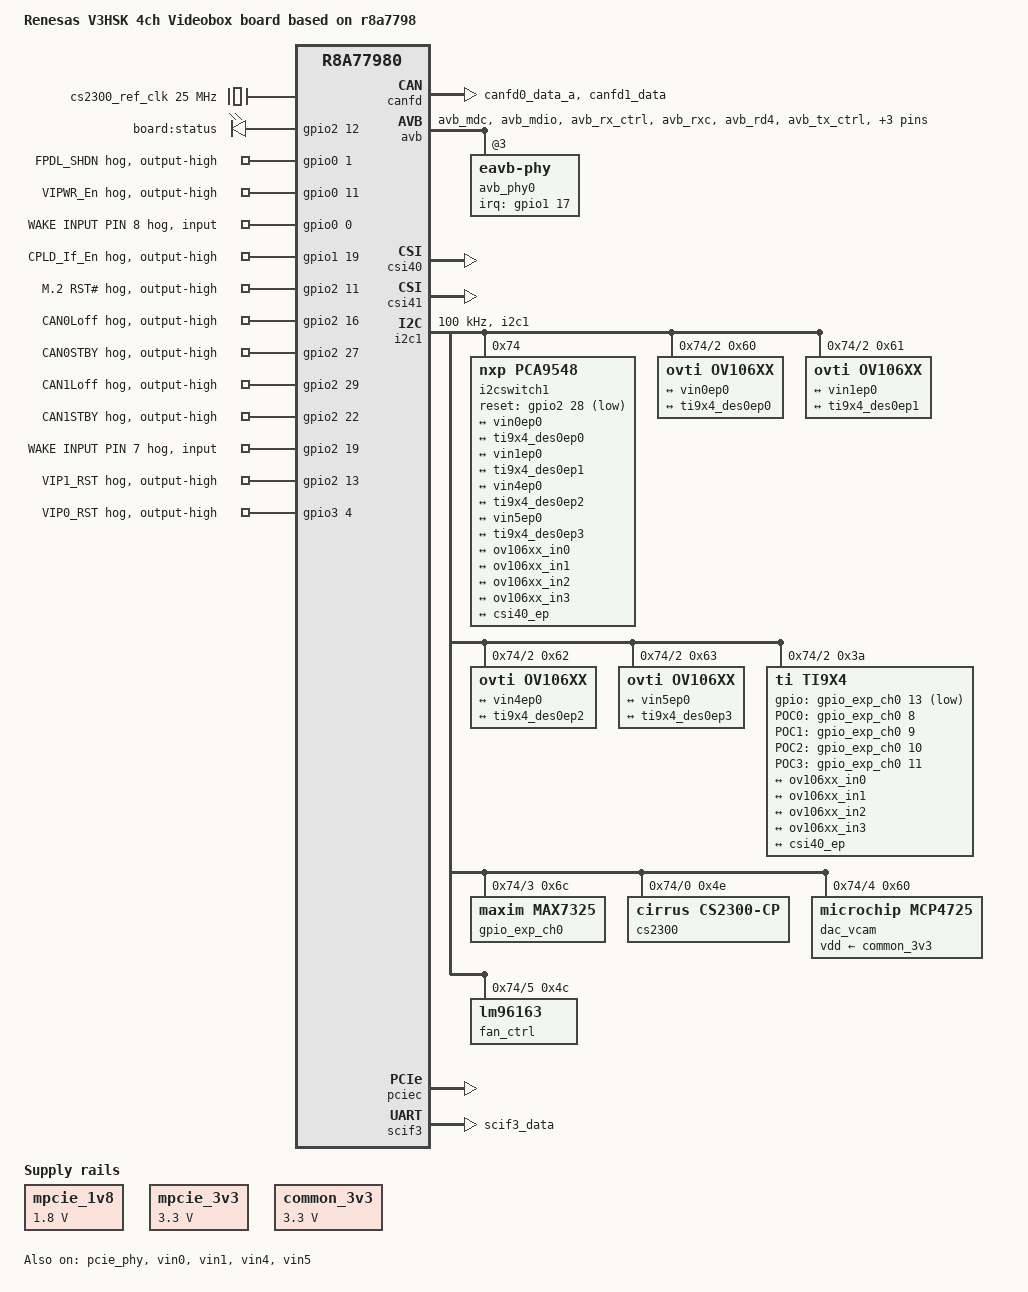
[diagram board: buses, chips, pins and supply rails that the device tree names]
/*
 * Device Tree Source for the V3HSK Videobox Mini board on r8a7798
 *
 * Copyright (C) 2018 Cogent Embedded, Inc.
 *
 * This file is licensed under the terms of the GNU General Public License
 * version 2.  This program is licensed "as is" without any warranty of any
 * kind, whether express or implied.
 */

#include "r8a77980-v3hsk.dts"
#include <dt-bindings/gpio/gpio.h>

/ {
	model = "Renesas V3HSK 4ch Videobox board based on r8a7798";

	aliases {
		serial1 = &scif3;
		ethernet1 = &avb;
	};

	cs2300_ref_clk: cs2300_ref_clk {
		compatible = "fixed-clock";
		#clock-cells = <0>;
		clock-frequency = <25000000>;
	};

	leds {
		compatible = "gpio-leds";

		led0 {
			label = "board:status";
			gpios = <&gpio2 12 GPIO_ACTIVE_HIGH>;
			linux,default-trigger = "none";
		};
	};

	mpcie_1v8: regulator2 {
		compatible = "regulator-fixed";
		regulator-name = "mPCIe 1v8";
		regulator-min-microvolt = <1800000>;
		regulator-max-microvolt = <1800000>;
		regulator-boot-on;
		regulator-always-on;
	};

	mpcie_3v3: regulator3 {
		compatible = "regulator-fixed";
		regulator-name = "mPCIe 3v3";
		regulator-min-microvolt = <3300000>;
		regulator-max-microvolt = <3300000>;
		regulator-boot-on;
		regulator-always-on;
	};

	common_3v3: regulator4 {
		compatible = "regulator-fixed";
		regulator-name = "main 3v3";
		regulator-min-microvolt = <3300000>;
		regulator-max-microvolt = <3300000>;
		regulator-boot-on;
		regulator-always-on;
	};
};

&canfd {
	pinctrl-0 = <&canfd0_pins &canfd1_pins>;
	pinctrl-names = "default";
	status = "okay";

	channel0 {
		status = "okay";
	};

	channel1 {
		status = "okay";
	};
};

&avb {
	pinctrl-0 = <&avb_pins>;
	pinctrl-names = "default";
	renesas,no-ether-link;
	phy-handle = <&avb_phy0>;
	status = "okay";
	phy-int-gpio = <&gpio1 17 GPIO_ACTIVE_LOW>;

	avb_phy0: eavb-phy@0 {
		rxc-skew-ps = <1500>;
		rxdv-skew-ps = <420>; /* default */
		rxd0-skew-ps = <420>; /* default */
		rxd1-skew-ps = <420>; /* default */
		rxd2-skew-ps = <420>; /* default */
		rxd3-skew-ps = <420>; /* default */
		txc-skew-ps = <900>; /* default */
		txen-skew-ps = <420>; /* default */
		txd0-skew-ps = <420>; /* default */
		txd1-skew-ps = <420>; /* default */
		txd2-skew-ps = <420>; /* default */
		txd3-skew-ps = <420>; /* default */
		reg = <3>;
		interrupt-parent = <&gpio1>;
		interrupts = <17 IRQ_TYPE_LEVEL_LOW>;
		max-speed = <1000>;
	};
};

&csi40 {
	status = "okay";

	port {
		#address-cells = <1>;
		#size-cells = <0>;

		csi40_ep: endpoint {
			clock-lanes = <0>;
			data-lanes = <1 2 3 4>;
			csi-rate = <1500>;
		};
	};
};

&csi41 {
	status = "okay";

	port {
		#address-cells = <1>;
		#size-cells = <0>;

		csi41_ep: endpoint {
			clock-lanes = <0>;
			data-lanes = <1 2 3 4>;
			csi-rate = <1500>;
		};
	};
};

&i2c1 {
	pinctrl-0 = <&i2c1_pins>;
	pinctrl-names = "default";
	status = "okay";

	clock-frequency = <100000>;

	i2cswitch1: i2c-switch@74 {
		compatible = "nxp,pca9548";
		#address-cells = <1>;
		#size-cells = <0>;
		reg = <0x74>;
		reset-gpios = <&gpio2 28 GPIO_ACTIVE_LOW>;

		/* DS0_SDA and DS0_SCL */
		i2c@2 {
			#address-cells = <1>;
			#size-cells = <0>;
			reg = <2>;

			/* Deser #0 nodes here */
			ov106xx@0 {
				compatible = "ovti,ov106xx";
				reg = <0x60>;

				port@0 {
					ov106xx_in0: endpoint {
						clock-lanes = <0>;
						data-lanes = <1 2 3 4>;
						remote-endpoint = <&vin0ep0>;
					};
				};
				port@1 {
					ov106xx_ti9x4_des0ep0: endpoint@1 {
						remote-endpoint = <&ti9x4_des0ep0>;
					};
				};
			};

			ov106xx@1 {
				compatible = "ovti,ov106xx";
				reg = <0x61>;

				port@0 {
					ov106xx_in1: endpoint {
						clock-lanes = <0>;
						data-lanes = <1 2 3 4>;
						remote-endpoint = <&vin1ep0>;
					};
				};
				port@1 {
					ov106xx_ti9x4_des0ep1: endpoint@1 {
						remote-endpoint = <&ti9x4_des0ep1>;
					};
				};
			};

			ov106xx@2 {
				compatible = "ovti,ov106xx";
				reg = <0x62>;

				port@0 {
					ov106xx_in2: endpoint {
						clock-lanes = <0>;
						data-lanes = <1 2 3 4>;
						remote-endpoint = <&vin4ep0>;
					};
				};
				port@1 {
					ov106xx_ti9x4_des0ep2: endpoint@1 {
						remote-endpoint = <&ti9x4_des0ep2>;
					};
				};
			};

			ov106xx@3 {
				compatible = "ovti,ov106xx";
				reg = <0x63>;

				port@0 {
					ov106xx_in3: endpoint {
						clock-lanes = <0>;
						data-lanes = <1 2 3 4>;
						remote-endpoint = <&vin5ep0>;
					};
				};
				port@1 {
					ov106xx_ti9x4_des0ep3: endpoint@1 {
						remote-endpoint = <&ti9x4_des0ep3>;
					};
				};
			};

			ti9x4@0 {
				compatible = "ti,ti9x4";
				clocks = <&cs2300>;
				clock-names = "ref_clk";
				reg = <0x3a>;
				ti,links = <4>;
				ti,lanes = <4>;
				ti,forwarding-mode = "round-robin";
				ti,cable-mode = "coax";
				ti,vc-map = <0x1010>;
				ti,csi1-links = <0 1>;
				gpios = <&gpio_exp_ch0 13 GPIO_ACTIVE_LOW>;
				POC0-gpios = <&gpio_exp_ch0 8 GPIO_ACTIVE_HIGH>;
				POC1-gpios = <&gpio_exp_ch0 9 GPIO_ACTIVE_HIGH>;
				POC2-gpios = <&gpio_exp_ch0 10 GPIO_ACTIVE_HIGH>;
				POC3-gpios = <&gpio_exp_ch0 11 GPIO_ACTIVE_HIGH>;

				port@0 {
					ti9x4_des0ep0: endpoint@0 {
						ti9x3-addr = <0x0c>;
						dvp-order = <0>;
						remote-endpoint = <&ov106xx_in0>;
					};
					ti9x4_des0ep1: endpoint@1 {
						ti9x3-addr = <0x0d>;
						dvp-order = <0>;
						remote-endpoint = <&ov106xx_in1>;
					};
					ti9x4_des0ep2: endpoint@2 {
						ti9x3-addr = <0x0e>;
						dvp-order = <0>;
						remote-endpoint = <&ov106xx_in2>;
					};
					ti9x4_des0ep3: endpoint@3 {
						ti9x3-addr = <0x0f>;
						dvp-order = <0>;
						remote-endpoint = <&ov106xx_in3>;
					};
				};
				port@1 {
					ti9x4_csi0ep0: endpoint {
						csi-rate = <1500>;
						remote-endpoint = <&csi40_ep>;
					};
				};
			};
		};

		/* CTL0_SDA and CTL0_SCL */
		i2c@3 {
			#address-cells = <1>;
			#size-cells = <0>;
			reg = <3>;

			gpio_exp_ch0: gpio_ch0@6c {
				compatible = "maxim,max7325";
				reg = <0x6c>;
				gpio-controller;
				#gpio-cells = <2>;

				ch0_virq {
					gpio-hog;
					gpios = <5 GPIO_ACTIVE_HIGH>;
					input;
					line-name = "CH0_VIRQ";
				};
				ch0_des_cfg0 {
					gpio-hog;
					gpios = <6 GPIO_ACTIVE_HIGH>;
					input;
					line-name = "CH0_CNFG0";
				};
				ch0_des_cfg1 {
					gpio-hog;
					gpios = <7 GPIO_ACTIVE_HIGH>;
					input;
					line-name = "CH0_CNFG1";
				};
			};
		};

		/* CTL1_SDA and CTL1_SCL */
		i2c@0 {
			#address-cells = <1>;
			#size-cells = <0>;
			reg = <0>;

			/* CS2300 node @0x4e */
			cs2300: clk_multiplier@4e {
				#clock-cells = <0>;
				compatible = "cirrus,cs2300-cp";
				reg = <0x4e>;
				clocks = <&cs2300_ref_clk>;
				clock-names = "clk_in";

				assigned-clocks = <&cs2300>;
				assigned-clock-rates = <23500000>;
			};
		};

		/* CMR_SDA and CMR_SCL */
		i2c@4 {
			#address-cells = <1>;
			#size-cells = <0>;
			reg = <4>;

			dac_vcam: dac_vcam@60 {
				compatible = "microchip,mcp4725";
				reg = <0x60>;
				vdd-supply = <&common_3v3>;
			};
		};

		/* Disp_SDA and Disp_SCL */
		i2c@5 {
			#address-cells = <1>;
			#size-cells = <0>;
			reg = <5>;

			/* fan node - lm96063 */
			fan_ctrl: lm96063@4c {
				compatible = "lm96163";
				reg = <0x4c>;
			};
		};

		/* ESDA and ESCL */
		i2c@7 {
			#address-cells = <1>;
			#size-cells = <0>;
			reg = <7>;

			/* ext connector nodes here */
		};

	};
};

&gpio0 {
	fpdl_shdn {
		gpio-hog;
		gpios = <1 GPIO_ACTIVE_HIGH>;
		output-high;
		line-name = "FPDL_SHDN";
	};

	cam_pwr_en {
		gpio-hog;
		gpios = <11 GPIO_ACTIVE_HIGH>;
		output-high;
		line-name = "VIPWR_En";
	};

	wake_pin_8 {
		gpio-hog;
		gpios = <0 GPIO_ACTIVE_HIGH>;
		input;
		line-name = "WAKE INPUT PIN 8";
	};
};

&gpio1 {
	md_buf_en {
		gpio-hog;
		gpios = <19 GPIO_ACTIVE_HIGH>;
		output-high;
		line-name = "CPLD_If_En";
	};
};

&gpio2 {
	m2_rst {
		gpio-hog;
		gpios = <11 GPIO_ACTIVE_HIGH>;
		output-high;
		line-name = "M.2 RST#";
	};

	can0_load {
		gpio-hog;
		gpios = <16 GPIO_ACTIVE_HIGH>;
		output-high;
		line-name = "CAN0Loff";
	};

	can0_stby {
		gpio-hog;
		gpios = <27 GPIO_ACTIVE_HIGH>;
		output-high;
		line-name = "CAN0STBY";
	};

	can1_load {
		gpio-hog;
		gpios = <29 GPIO_ACTIVE_HIGH>;
		output-high;
		line-name = "CAN1Loff";
	};

	can1_stby {
		gpio-hog;
		gpios = <22 GPIO_ACTIVE_HIGH>;
		output-high;
		line-name = "CAN1STBY";
	};

	wake_pin_7 {
		gpio-hog;
		gpios = <19 GPIO_ACTIVE_HIGH>;
		input;
		line-name = "WAKE INPUT PIN 7";
	};

	vi1_gpioext_rst {
		gpio-hog;
		gpios = <13 GPIO_ACTIVE_HIGH>;
		output-high;
		line-name = "VIP1_RST";
	};
};

&gpio3 {
	vi0_gpioext_rst {
		gpio-hog;
		gpios = <4 GPIO_ACTIVE_HIGH>;
		output-high;
		line-name = "VIP0_RST";
	};
};

&pcie_bus_clk {
	clock-frequency = <100000000>;
	status = "okay";
};

&pciec {
	pcie3v3-supply = <&mpcie_3v3>;
	pcie1v8-supply = <&mpcie_1v8>;
	status = "okay";
};

&pcie_phy {
	status = "okay";
};

&pfc {
	canfd0_pins: canfd0 {
		groups = "canfd0_data_a";
		function = "canfd0";
	};

	canfd1_pins: canfd1 {
		groups = "canfd1_data";
		function = "canfd1";
	};

	avb_pins: avb {
		groups = "avb_mdc", "avb_mdio",
			"avb_rx_ctrl", "avb_rxc",
			"avb_rd4",
			"avb_tx_ctrl", "avb_txc",
			"avb_txcrefclk",
			"avb_td4";
		function = "avb";
	};

	i2c1_pins: i2c1 {
		groups = "i2c1";
		function = "i2c1";
	};

	scif3_pins: scif3 {
		groups = "scif3_data";
		function = "scif3";
	};
};

&scif3 {
	pinctrl-0 = <&scif3_pins>;
	pinctrl-names = "default";

	status = "okay";
};

&tpu {
	status = "disabled";
};

&vin0 {
	status = "okay";

	ports {
		#address-cells = <1>;
		#size-cells = <0>;

		port@0 {
			vin0ep0: endpoint {
				csi,select = "csi40";
				virtual,channel = <0>;
				data-lanes = <1 2 3 4>;
				remote-endpoint = <&ov106xx_in0>;
			};
		};
		port@1 {
			csi0ep0: endpoint {
				remote-endpoint = <&csi40_ep>;
			};
		};
		port@2 {
			vin0_ti9x4_des0ep0: endpoint@1 {
				remote-endpoint = <&ti9x4_des0ep0>;
			};
		};
	};
};

&vin1 {
	status = "okay";

	ports {
		#address-cells = <1>;
		#size-cells = <0>;

		port@0 {
			vin1ep0: endpoint {
				csi,select = "csi40";
				virtual,channel = <1>;
				data-lanes = <1 2 3 4>;
				remote-endpoint = <&ov106xx_in1>;
			};
		};
		port@1 {
			csi0ep1: endpoint {
				remote-endpoint = <&csi40_ep>;
			};
		};
		port@2 {
			vin1_ti9x4_des0ep1: endpoint@1 {
				remote-endpoint = <&ti9x4_des0ep1>;
			};
		};
	};
};

&vin4 {
	status = "okay";

	ports {
		#address-cells = <1>;
		#size-cells = <0>;

		port@0 {
			vin4ep0: endpoint {
				csi,select = "csi41";
				virtual,channel = <0>;
				data-lanes = <1 2 3 4>;
				remote-endpoint = <&ov106xx_in2>;
			};
		};
		port@1 {
			csi1ep2: endpoint {
				remote-endpoint = <&csi41_ep>;
			};
		};
		port@2 {
			vin4_ti9x4_des0ep2: endpoint@1 {
				remote-endpoint = <&ti9x4_des0ep2>;
			};
		};
	};
};

&vin5 {
	status = "okay";

	ports {
		#address-cells = <1>;
		#size-cells = <0>;

		port@0 {
			vin5ep0: endpoint {
				csi,select = "csi41";
				virtual,channel = <1>;
				data-lanes = <1 2 3 4>;
				remote-endpoint = <&ov106xx_in3>;
			};
		};
		port@1 {
			csi1ep3: endpoint {
				remote-endpoint = <&csi41_ep>;
			};
		};
		port@2 {
			vin5_ti9x4_des0ep3: endpoint@1 {
				remote-endpoint = <&ti9x4_des0ep3>;
			};
		};
	};
};
